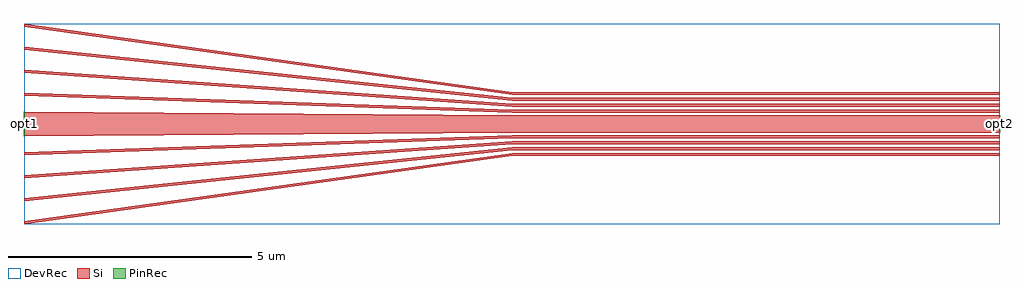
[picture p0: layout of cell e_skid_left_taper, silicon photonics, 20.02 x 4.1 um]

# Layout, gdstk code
import gdstk
lib = gdstk.Library(unit=1e-6, precision=1e-09)
def R(c, l, rs):  # rectangles x0, y0, x1, y1
    for r in rs: c.add(gdstk.rectangle(r[:2], r[2:], *l))
def A(c, l, x, y, w, h, nx, ny, dx, dy):  # array of equal rectangles
    R(c, l, [(x+i*dx, y+j*dy, x+i*dx+w, y+j*dy+h) for i in range(nx) for j in range(ny)])
def P(c, l, *ps):  # polygons
    for p in ps: c.add(gdstk.Polygon(p, *l))
Si = (1, 0)
PinRec = (1, 10)
DevRec = (68, 0)

e_skid_left_taper = lib.new_cell('e_skid_left_taper')
A(e_skid_left_taper, Si, 0, -0.655, 10, 0.06, 1, 4, 0, 0.12)
A(e_skid_left_taper, Si, 0, 0.235, 10, 0.06, 1, 4, 0, 0.12)
R(e_skid_left_taper, Si, [(0,-0.175,10,0.175)])
P(e_skid_left_taper, Si, [(0,0.235),(-10,0.584),(-10,0.644),(0,0.295)],
  [(-10,-0.644),(-10,-0.584),(0,-0.235),(0,-0.295)],
  [(0,0.355),(-10,1.053),(-10,1.113),(0,0.415)],
  [(-10,-1.113),(-10,-1.053),(0,-0.355),(0,-0.415)],
  [(0,0.475),(-10,1.523),(-10,1.583),(0,0.535)],
  [(-10,-1.583),(-10,-1.523),(0,-0.475),(0,-0.535)],
  [(0,0.595),(-10,1.992),(-10,2.052),(0,0.655)],
  [(-10,-2.052),(-10,-1.992),(0,-0.595),(0,-0.655)],
  [(-10,-0.25),(-10,0.25),(0,0.175),(0,-0.175)])
R(e_skid_left_taper, DevRec, [(-10,-2.052,10,2.052)])
e_skid_left_taper.add(gdstk.FlexPath([(-9.99,0),(-10.01,0)], 0.5, ends="flush", simple_path=True, layer=1, datatype=10))  # PinRec
e_skid_left_taper.add(gdstk.FlexPath([(9.99,0),(10.01,0)], 0.35, ends="flush", simple_path=True, layer=1, datatype=10))  # PinRec
e_skid_left_taper.add(gdstk.Label('opt1', (-10,0), layer=1, texttype=10))
e_skid_left_taper.add(gdstk.Label('opt2', (10,0), layer=1, texttype=10))

lib.write_gds('e_skid_left_taper.gds')
